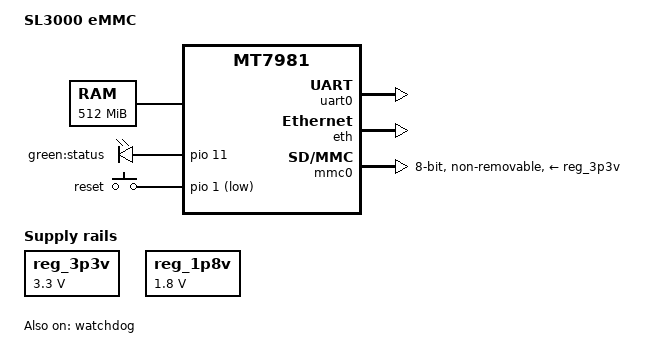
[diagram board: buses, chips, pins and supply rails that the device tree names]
/dts-v1/;
#include "mt7981.dtsi"
#include <dt-bindings/gpio/gpio.h>
#include <dt-bindings/input/input.h>

/ {
	model = "SL3000 eMMC";
	compatible = "sl,sl3000", "mediatek,mt7981";

	aliases {
		serial0 = &uart0;
		led-boot = &led_status;
		led-failsafe = &led_status;
		led-running = &led_status;
		led-upgrade = &led_status;
	};

	chosen {
		stdout-path = "serial0:115200n8";
		bootargs = "console=ttyS0,115200n8 root=/dev/mmcblk0p2 rootwait rw";
	};

	// 这里用 512MB 救砖稳定版
	memory@40000000 {
		device_type = "memory";
		reg = <0 0x40000000 0 0x20000000>;
	};

	leds {
		compatible = "gpio-leds";
		led_status: status {
			label = "green:status";
			gpios = <&pio 11 GPIO_ACTIVE_HIGH>;
			linux,default-trigger = "heartbeat";
		};
	};

	keys {
		compatible = "gpio-keys";
		reset {
			label = "reset";
			linux,code = <KEY_RESTART>;
			gpios = <&pio 1 GPIO_ACTIVE_LOW>;
			debounce-interval = <20>;
			wakeup-source;
		};
	};
};

&uart0 { status = "okay"; };
&watchdog { status = "okay"; };

&eth {
	status = "okay";
	gmac0: mac@0 {
		reg = <0>;
		phy-mode = "2500base-x";
		fixed-link {
			speed = <2500>;
			full-duplex;
		};
	};
};

&mmc0 {
	status = "okay";
	bus-width = <8>;
	max-frequency = <20000000>;       // 已修正为稳定频率
	non-removable;
	cap-mmc-highspeed;
	vmmc-supply = <&reg_3p3v>;
	vqmmc-supply = <&reg_1p8v>;
};

&spi0 {
	status = "disabled";
};

&reg_3p3v {
	compatible = "regulator-fixed";
	regulator-name = "3P3V";
	regulator-min-microvolt = <3300000>;
	regulator-max-microvolt = <3300000>;
	regulator-always-on;
};

&reg_1p8v {
	compatible = "regulator-fixed";
	regulator-name = "1P8V";
	regulator-min-microvolt = <1800000>;
	regulator-max-microvolt = <1800000>;
	regulator-always-on;
};
